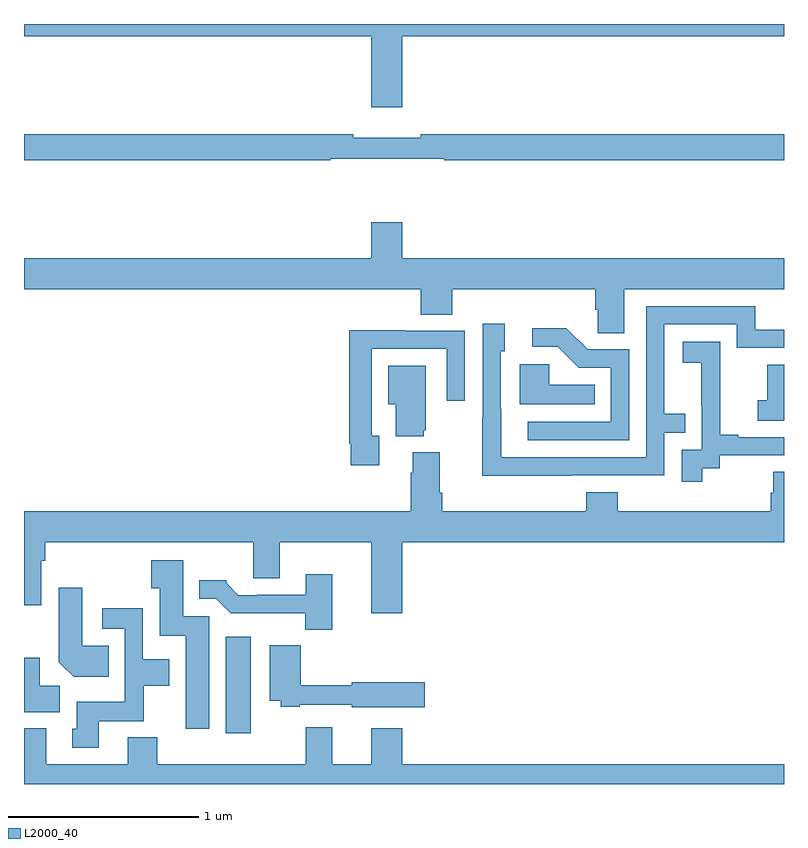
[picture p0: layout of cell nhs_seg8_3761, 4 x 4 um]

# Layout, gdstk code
import gdstk
lib = gdstk.Library(unit=1e-6, precision=1e-09)
def R(c, l, rs):  # rectangles x0, y0, x1, y1
    for r in rs: c.add(gdstk.rectangle(r[:2], r[2:], *l))
def P(c, l, *ps):  # polygons
    for p in ps: c.add(gdstk.Polygon(p, *l))
L2000_40 = (2000, 40)

nhs_seg8_3761 = lib.new_cell('nhs_seg8_3761')
R(nhs_seg8_3761, L2000_40, [(344.063,1110.168,344.194,1110.676)])
P(nhs_seg8_3761, L2000_40, [(344.992,1113.836),(347,1113.836),(347,1113.9),(343,1113.9),(343,1113.836),(344.828,1113.836),(344.828,1113.462),(344.992,1113.462)],
  [(344.612,1113.192),(345.212,1113.192),(345.212,1113.184),(347,1113.184),(347,1113.32),(345.088,1113.32),(345.088,1113.301),(344.732,1113.301),(344.732,1113.32),(343,1113.32),(343,1113.184),(344.612,1113.184)],
  [(346.159,1112.504),(347,1112.504),(347,1112.668),(344.992,1112.668),(344.992,1112.857),(344.828,1112.857),(344.828,1112.668),(343,1112.668),(343,1112.504),(345.089,1112.504),(345.089,1112.371),(345.254,1112.371),(345.254,1112.504),(346.007,1112.504),(346.007,1112.395),(346.02,1112.395),(346.02,1112.272),(346.159,1112.272)],
  [(345.875,1111.524),(346.371,1111.524),(346.371,1111.749),(346.481,1111.749),(346.481,1111.85),(346.371,1111.85),(346.371,1112.319),(346.752,1112.319),(346.752,1112.196),(347,1112.196),(347,1112.292),(346.849,1112.292),(346.849,1112.415),(346.275,1112.415),(346.275,1111.62),(345.511,1111.62),(345.511,1111.874),(345.51,1111.874),(345.51,1112.178),(345.529,1112.178),(345.529,1112.323),(345.414,1112.323),(345.414,1111.829),(345.412,1111.829),(345.412,1111.523),(345.875,1111.523)],
  [(346.185,1112.187),(345.966,1112.187),(345.853,1112.3),(345.675,1112.3),(345.675,1112.202),(345.809,1112.202),(345.92,1112.091),(346.089,1112.091),(346.089,1111.806),(345.651,1111.806),(345.651,1111.71),(346.185,1111.71)],
  [(344.869,1111.734),(344.829,1111.734),(344.829,1112.19),(345.225,1112.19),(345.225,1111.917),(345.321,1111.917),(345.321,1112.286),(345.005,1112.286),(345.005,1112.288),(344.713,1112.288),(344.713,1111.69),(344.721,1111.69),(344.721,1111.578),(344.869,1111.578)],
  [(346.57,1111.561),(346.662,1111.561),(346.662,1111.629),(347,1111.629),(347,1111.725),(346.759,1111.725),(346.759,1111.738),(346.664,1111.738),(346.664,1112.021),(346.665,1112.021),(346.665,1112.227),(346.467,1112.227),(346.467,1112.117),(346.565,1112.117),(346.565,1111.889),(346.566,1111.889),(346.566,1111.659),(346.461,1111.659),(346.461,1111.491),(346.57,1111.491)],
  [(346.004,1112.002),(345.765,1112.002),(345.765,1112.11),(345.608,1112.11),(345.608,1111.898),(346.004,1111.898)],
  [(347,1112.106),(346.912,1112.106),(346.912,1111.921),(346.863,1111.921),(346.863,1111.812),(347,1111.812)],
  [(345.104,1111.761),(345.115,1111.761),(345.115,1112.101),(344.918,1112.101),(344.918,1111.898),(344.957,1111.898),(344.957,1111.73),(345.104,1111.73)],
  [(344.992,1111.172),(347,1111.172),(347,1111.544),(346.943,1111.544),(346.943,1111.434),(346.931,1111.434),(346.931,1111.336),(346.124,1111.336),(346.124,1111.435),(345.959,1111.435),(345.959,1111.336),(345.2,1111.336),(345.2,1111.432),(345.187,1111.432),(345.187,1111.645),(345.047,1111.645),(345.047,1111.538),(345.035,1111.538),(345.035,1111.336),(343,1111.336),(343,1110.84),(343.092,1110.84),(343.092,1111.076),(343.112,1111.076),(343.112,1111.172),(344.207,1111.172),(344.207,1110.982),(344.347,1110.982),(344.347,1111.172),(344.828,1111.172),(344.828,1110.798),(344.992,1110.798)],
  [(343.975,1110.783),(343.837,1110.783),(343.837,1111.078),(343.669,1111.078),(343.669,1110.931),(343.715,1110.931),(343.715,1110.68),(343.85,1110.68),(343.85,1110.192),(343.975,1110.192)],
  [(344.623,1111.003),(344.483,1111.003),(344.483,1110.897),(344.227,1110.897),(344.227,1110.894),(344.128,1110.894),(344.064,1110.958),(344.064,1110.973),(343.922,1110.973),(343.922,1110.876),(344.013,1110.876),(344.089,1110.8),(344.481,1110.8),(344.481,1110.713),(344.623,1110.713)],
  [(343.445,1110.628),(343.306,1110.628),(343.306,1110.934),(343.184,1110.934),(343.184,1110.542),(343.262,1110.464),(343.445,1110.464)],
  [(343.393,1110.23),(343.629,1110.23),(343.629,1110.416),(343.765,1110.416),(343.765,1110.556),(343.626,1110.556),(343.626,1110.826),(343.413,1110.826),(343.413,1110.717),(343.53,1110.717),(343.53,1110.334),(343.277,1110.334),(343.277,1110.192),(343.253,1110.192),(343.253,1110.09),(343.393,1110.09)],
  [(345.109,1110.435),(344.724,1110.435),(344.724,1110.419),(344.456,1110.419),(344.456,1110.631),(344.294,1110.631),(344.294,1110.338),(344.352,1110.338),(344.352,1110.306),(344.452,1110.306),(344.452,1110.318),(344.724,1110.318),(344.724,1110.305),(345.109,1110.305)],
  [(343.189,1110.416),(343.084,1110.416),(343.084,1110.565),(343,1110.565),(343,1110.278),(343.189,1110.278)],
  [(347,1110.004),(344.992,1110.004),(344.992,1110.193),(344.828,1110.193),(344.828,1110.004),(344.623,1110.004),(344.623,1110.199),(344.483,1110.199),(344.483,1110.004),(343.7,1110.004),(343.7,1110.145),(343.547,1110.145),(343.547,1110.004),(343.117,1110.004),(343.117,1110.193),(343,1110.193),(343,1109.9),(347,1109.9)])

lib.write_gds('nhs_seg8_3761.gds')
